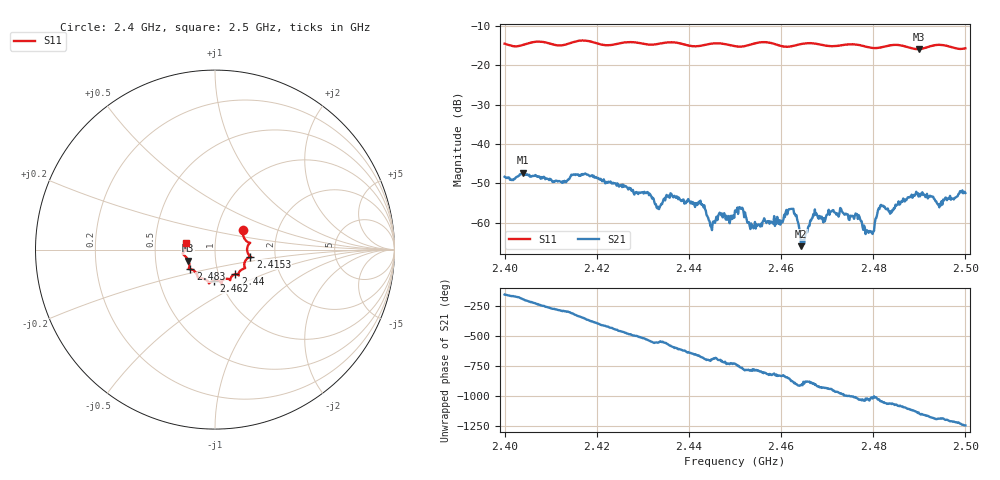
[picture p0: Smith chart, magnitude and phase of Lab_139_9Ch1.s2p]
# Hz S RI R 50
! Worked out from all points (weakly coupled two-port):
!   601 points, 2.4 GHz to 2.5 GHz, reference 50 ohm
!   highest |S21| = -47.27 dB at 2.404 GHz (marker M1); lowest = -65.9 dB at 2.4643 GHz (marker M2)
!   lowest |S11| = -15.9 dB at 2.4898 GHz (marker M3), VSWR 1.38, Z = 36.8 - j4.61 ohm
!   |S11| at or under -10 dB: start of sweep to end of sweep
!   S12 and S22 are empty: the file has one direction only
!   S11 on the Smith chart (normalised r, x): 2.4 GHz: 1.33, +0.29; 2.4153 GHz: 1.48, -0.12; 2.44 GHz: 1.20, -0.34; 2.462 GHz: 0.93, -0.33; 2.483 GHz: 0.74, -0.17; 2.5 GHz: 0.72, +0.06
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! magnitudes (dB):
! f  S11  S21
! 2.4 GHz  -14.5  -48.3
! 2.404 GHz  -14.8  -47.3
! 2.4153 GHz  -14.0  -47.9
! 2.4167 GHz  -13.7  -47.7
! 2.4333 GHz  -14.6  -55.9
! 2.44 GHz  -15.0  -54.4
! 2.4428 GHz  -15.0  -55.3
! 2.445 GHz  -14.5  -61.9
! 2.45 GHz  -15.1  -56.9
! 2.4513 GHz  -15.2  -56.5
! 2.4537 GHz  -14.6  -60.9
! 2.462 GHz  -15.2  -56.5
! 2.4643 GHz  -14.6  -65.9
! 2.4667 GHz  -14.4  -58.9
! 2.4732 GHz  -14.9  -57.0
! 2.4795 GHz  -15.5  -62.4
! 2.4815 GHz  -15.5  -55.7
! 2.483 GHz  -15.1  -56.5
! 2.4833 GHz  -15.0  -57.0
! 2.4898 GHz  -15.9  -53.3
! 2.4945 GHz  -14.8  -55.1
! 2.5 GHz  -15.7  -52.4
